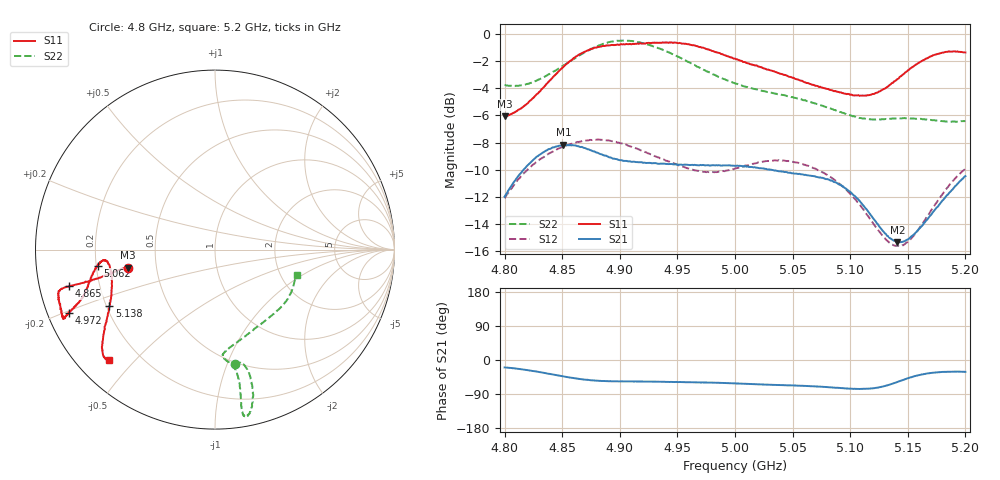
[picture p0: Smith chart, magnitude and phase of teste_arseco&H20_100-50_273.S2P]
! Network Analyzer HP8722D
! Hewlett-Packard
! Data name: Linha & Wilkinson
! Saver's name: Rodrigo Anjos
! Comments: Teste da utilização de aquisição
! continua pelo VNA HP8722D
! Time and date: 6/5/2025 14:50
!  Frequency  S11  S21  S12  S22
# HZ  S  MA R 50
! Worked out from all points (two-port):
!   401 points, 4.8 GHz to 5.2 GHz, reference 50 ohm
!   highest |S21| = -8.16 dB at 4.851 GHz (marker M1); lowest = -15.3 dB at 5.141 GHz (marker M2)
!   |S21| within 3 dB of the highest: 4.806 GHz to 5.092 GHz (286.3 MHz wide, 5.78 % of centre); 5.191811 GHz to end of sweep
!   lowest |S11| = -6.1 dB at 4.8 GHz (marker M3), VSWR 2.97, Z = 17 - j4.57 ohm
!   |S11| at or under -10 dB: nowhere
!   |S22| runs from -6.5 to -0.5 dB; largest |S21 - S12| = 0.62
!   S11 on the Smith chart (normalised r, x): 4.8 GHz: 0.34, -0.09; 4.865 GHz: 0.09, -0.12; 4.972 GHz: 0.06, -0.21; 5.062 GHz: 0.21, -0.07; 5.138 GHz: 0.21, -0.24; 5.2 GHz: 0.09, -0.42
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4.8e9  0.4966 -168.2  0.2519 -19.6  0.2484 -140.9  0.6484 -80.3
4.823e9  0.5707 -167.5  0.3377 -28.2  0.3253 -143.8  0.6604 -76.0
4.851e9  0.7561 -165.9  0.3909 -43.3  0.3843 -149.3  0.764 -74.6
4.865e9  0.8398 -165.9  0.3844 -49.9  0.4008 -151.7  0.8329 -75.2
4.867e9  0.8488 -165.9  0.3839 -50.8  0.4027 -152.0  0.8431 -75.4
4.898e9  0.9133 -162.9  0.3453 -56.2  0.3976 -156.5  0.9434 -78.9
4.912e9  0.9173 -160.1  0.3387 -56.7  0.3817 -157.1  0.9391 -80.2
4.934e9  0.926 -156.5  0.3325 -57.5  0.3508 -155.6  0.8834 -80.5
4.972e9  0.8895 -156.5  0.3294 -59.0  0.3111 -146.2  0.7405 -79.8
5e9  0.81 -159.0  0.3271 -61.8  0.3197 -137.3  0.6567 -81.3
5.039e9  0.7135 -166.4  0.3123 -66.1  0.3416 -134.4  0.5986 -85.8
5.062e9  0.6597 -172.1  0.3022 -68.6  0.3282 -136.4  0.5662 -83.7
5.067e9  0.6498 -173.0  0.3005 -69.1  0.3225 -136.9  0.5583 -82.6
5.085e9  0.6181 -174.3  0.2868 -72.6  0.2933 -138.3  0.5273 -75.8
5.102e9  0.5947 -171.7  0.2576 -75.9  0.253 -138.7  0.4976 -65.9
5.116e9  0.5946 -165.6  0.2207 -75.9  0.2123 -135.5  0.4857 -55.9
5.134e9  0.6472 -154.2  0.1779 -65.3  0.1706 -120.7  0.4868 -43.3
5.138e9  0.6675 -151.7  0.1734 -61.1  0.1668 -115.5  0.4881 -40.8
5.141e9  0.6816 -150.2  0.1714 -57.8  0.166 -111.6  0.4887 -39.0
5.153e9  0.75 -145.1  0.1798 -45.5  0.1769 -96.2  0.4881 -32.8
5.173e9  0.8362 -138.9  0.224 -33.3  0.2329 -80.7  0.4814 -24.3
5.2e9  0.8535 -133.7  0.2997 -31.3  0.3191 -76.9  0.4774 -17.4
